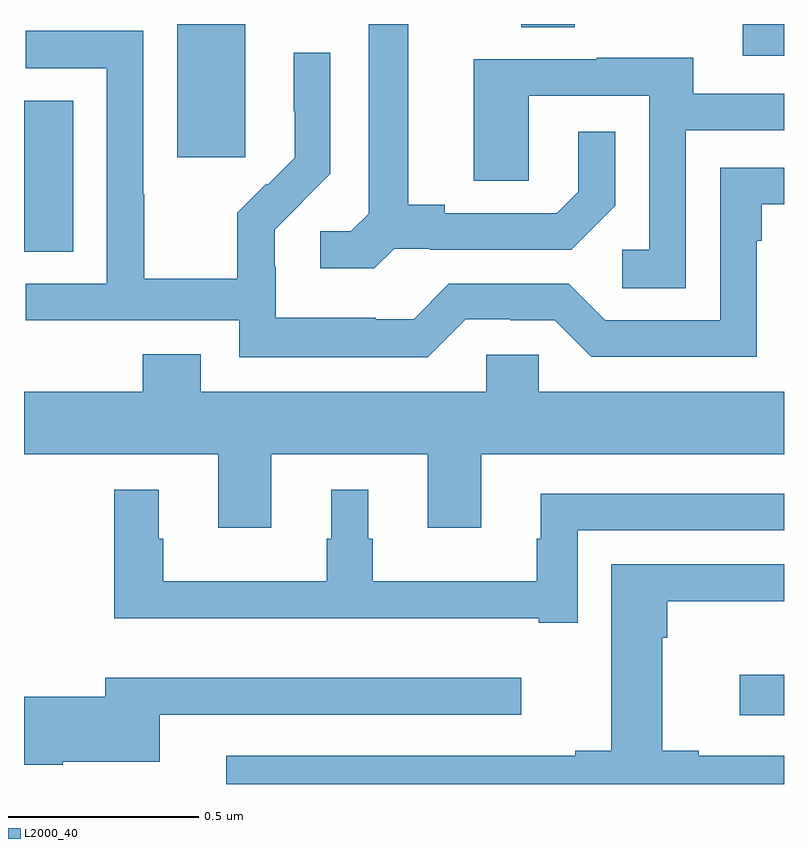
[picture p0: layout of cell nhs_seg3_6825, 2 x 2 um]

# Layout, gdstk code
import gdstk
lib = gdstk.Library(unit=1e-6, precision=1e-09)
def R(c, l, rs):  # rectangles x0, y0, x1, y1
    for r in rs: c.add(gdstk.rectangle(r[:2], r[2:], *l))
def P(c, l, *ps):  # polygons
    for p in ps: c.add(gdstk.Polygon(p, *l))
L2000_40 = (2000, 40)

nhs_seg3_6825 = lib.new_cell('nhs_seg3_6825')
R(nhs_seg3_6825, L2000_40, [(197.883,681.581,198,681.688), (196,682.801,196.129,683.198), (196.403,683.049,196.582,683.4), (197.891,683.316,198,683.4), (197.309,683.392,197.449,683.4)])
P(nhs_seg3_6825, L2000_40, [(196.974,682.809),(197.068,682.809),(197.068,682.806),(197.44,682.806),(197.556,682.922),(197.556,683.116),(197.459,683.116),(197.459,682.959),(197.402,682.902),(197.107,682.902),(197.107,682.925),(197.011,682.925),(197.011,683.4),(196.907,683.4),(196.907,682.901),(196.86,682.854),(196.779,682.854),(196.779,682.757),(196.922,682.757)],
  [(197.163,682.623),(197.279,682.623),(197.279,682.62),(197.397,682.62),(197.493,682.524),(197.928,682.524),(197.928,682.829),(197.941,682.829),(197.941,682.926),(198,682.926),(198,683.022),(197.832,683.022),(197.832,682.62),(197.529,682.62),(197.433,682.716),(197.118,682.716),(197.025,682.623),(196.925,682.623),(196.925,682.627),(196.662,682.627),(196.662,682.761),(196.66,682.761),(196.66,682.858),(196.734,682.932),(196.733,682.933),(196.806,683.006),(196.806,683.324),(196.71,683.324),(196.71,683.17),(196.712,683.17),(196.712,683.048),(196.641,682.977),(196.638,682.98),(196.561,682.903),(196.561,682.729),(196.317,682.729),(196.317,682.952),(196.314,682.952),(196.314,683.382),(196.005,683.382),(196.005,683.283),(196.218,683.283),(196.218,682.716),(196.005,682.716),(196.005,682.62),(196.566,682.62),(196.566,682.523),(197.063,682.523)],
  [(197.742,683.121),(198,683.121),(198,683.217),(197.761,683.217),(197.761,683.311),(197.507,683.311),(197.507,683.307),(197.183,683.307),(197.183,682.987),(197.328,682.987),(197.328,683.211),(197.646,683.211),(197.646,682.806),(197.574,682.806),(197.574,682.705),(197.742,682.705)],
  [(196.651,682.268),(197.063,682.268),(197.063,682.074),(197.203,682.074),(197.203,682.268),(198,682.268),(198,682.432),(197.355,682.432),(197.355,682.53),(197.217,682.53),(197.217,682.432),(196.465,682.432),(196.465,682.531),(196.313,682.531),(196.313,682.432),(196,682.432),(196,682.268),(196.511,682.268),(196.511,682.074),(196.651,682.074)],
  [(197.457,682.068),(198,682.068),(198,682.164),(197.36,682.164),(197.36,682.046),(197.349,682.046),(197.349,681.934),(196.918,681.934),(196.918,682.046),(196.906,682.046),(196.906,682.174),(196.808,682.174),(196.808,682.046),(196.797,682.046),(196.797,681.934),(196.366,681.934),(196.366,682.046),(196.354,682.046),(196.354,682.174),(196.237,682.174),(196.237,681.836),(197.354,681.836),(197.354,681.825),(197.457,681.825)],
  [(198,681.474),(197.776,681.474),(197.776,681.487),(197.68,681.487),(197.68,681.785),(197.693,681.785),(197.693,681.881),(198,681.881),(198,681.978),(197.546,681.978),(197.546,681.487),(197.45,681.487),(197.45,681.474),(196.532,681.474),(196.532,681.4),(198,681.4)],
  [(196.102,681.458),(196.357,681.458),(196.357,681.582),(197.308,681.582),(197.308,681.679),(196.214,681.679),(196.214,681.629),(196,681.629),(196,681.451),(196.102,681.451)])

lib.write_gds('nhs_seg3_6825.gds')
